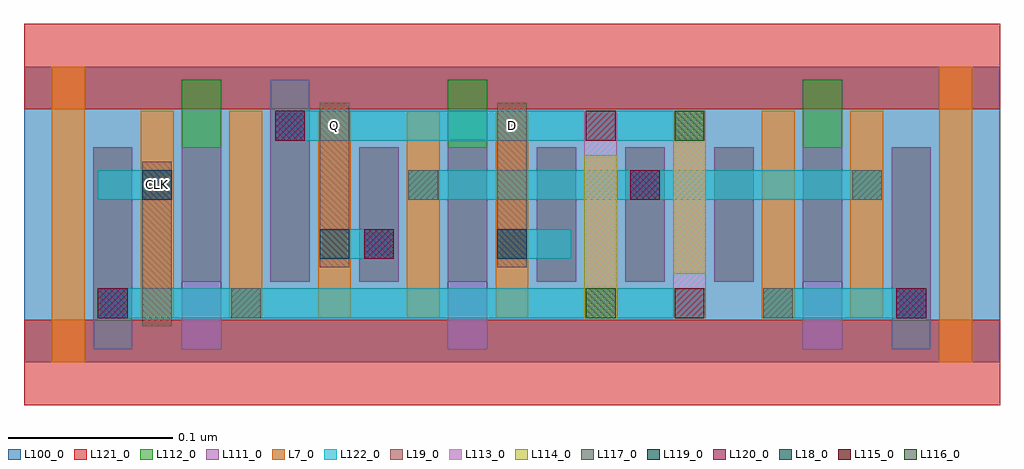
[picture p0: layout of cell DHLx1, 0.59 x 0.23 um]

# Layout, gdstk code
import gdstk
lib = gdstk.Library(unit=1e-6, precision=2.5e-10)
def R(c, l, rs):  # rectangles x0, y0, x1, y1
    for r in rs: c.add(gdstk.rectangle(r[:2], r[2:], *l))
def A(c, l, x, y, w, h, nx, ny, dx, dy):  # array of equal rectangles
    R(c, l, [(x+i*dx, y+j*dy, x+i*dx+w, y+j*dy+h) for i in range(nx) for j in range(ny)])
L7_0 = (7, 0)
L18_0 = (18, 0)
L19_0 = (19, 0)
L100_0 = (100, 0)
L111_0 = (111, 0)
L112_0 = (112, 0)
L113_0 = (113, 0)
L114_0 = (114, 0)
L115_0 = (115, 0)
L116_0 = (116, 0)
L117_0 = (117, 0)
L119_0 = (119, 0)
L120_0 = (120, 0)
L121_0 = (121, 0)
L122_0 = (122, 0)

dhlx1 = lib.new_cell('DHLx1')
A(dhlx1, L7_0, 0.071, 0.027, 0.02, 0.126, 5, 1, 0.054, 0)
R(dhlx1, L7_0, [(0.017,0,0.037,0.18), (0.557,0,0.577,0.18), (0.449,0.027,0.469,0.153), (0.503,0.027,0.523,0.153)])
R(dhlx1, L18_0, [(0.18,0.063,0.198,0.081), (0.288,0.063,0.306,0.081), (0.072,0.099,0.09,0.117)])
R(dhlx1, L19_0, [(0.072,0.022,0.09,0.122), (0.18,0.058,0.198,0.158), (0.288,0.058,0.306,0.158)])
R(dhlx1, L100_0, [(0,0,0.594,0.18)])
A(dhlx1, L111_0, 0.312, 0.049, 0.024, 0.082, 3, 1, 0.054, 0)
R(dhlx1, L111_0, [(0.042,0.008,0.066,0.131), (0.096,0.008,0.12,0.131), (0.258,0.008,0.282,0.131), (0.474,0.008,0.498,0.131), (0.528,0.008,0.552,0.131), (0.15,0.049,0.174,0.172), (0.204,0.049,0.228,0.131)])
A(dhlx1, L112_0, 0.312, 0.049, 0.024, 0.082, 3, 1, 0.054, 0)
R(dhlx1, L112_0, [(0.042,0.008,0.066,0.131), (0.528,0.008,0.552,0.131), (0.096,0.049,0.12,0.172), (0.15,0.049,0.174,0.172), (0.204,0.049,0.228,0.131), (0.258,0.049,0.282,0.172), (0.474,0.049,0.498,0.172)])
R(dhlx1, L113_0, [(0.341,0.027,0.361,0.153), (0.395,0.027,0.415,0.153)])
R(dhlx1, L114_0, [(0.341,0.027,0.361,0.126), (0.395,0.054,0.415,0.153)])
R(dhlx1, L115_0, [(0.396,0.027,0.414,0.045), (0.342,0.135,0.36,0.153)])
R(dhlx1, L116_0, [(0.342,0.027,0.36,0.045), (0.396,0.135,0.414,0.153)])
R(dhlx1, L117_0, [(0.126,0.027,0.144,0.045), (0.45,0.027,0.468,0.045), (0.288,0.063,0.306,0.081), (0.072,0.099,0.09,0.117), (0.234,0.099,0.252,0.117), (0.504,0.099,0.522,0.117)])
R(dhlx1, L119_0, [(0.045,0.027,0.063,0.045), (0.531,0.027,0.549,0.045), (0.207,0.063,0.225,0.081), (0.369,0.099,0.387,0.117), (0.153,0.135,0.171,0.153)])
R(dhlx1, L120_0, [(0.045,0.027,0.063,0.045), (0.531,0.027,0.549,0.045), (0.207,0.063,0.225,0.081), (0.369,0.099,0.387,0.117), (0.153,0.135,0.171,0.153)])
R(dhlx1, L121_0, [(0,-0.026,0.594,0.026), (0,0.154,0.594,0.206)])
R(dhlx1, L122_0, [(0.045,0.027,0.414,0.045), (0.45,0.027,0.549,0.045), (0.18,0.063,0.225,0.081), (0.288,0.063,0.333,0.081), (0.045,0.099,0.09,0.117), (0.234,0.099,0.522,0.117), (0.153,0.135,0.414,0.153)])
dhlx1.add(gdstk.Label('Q', (0.189,0.144), layer=19, texttype=251))
dhlx1.add(gdstk.Label('D', (0.297,0.144), layer=19, texttype=251))
dhlx1.add(gdstk.Label('CLK', (0.081,0.108), layer=19, texttype=251))

lib.write_gds('DHLx1.gds')
